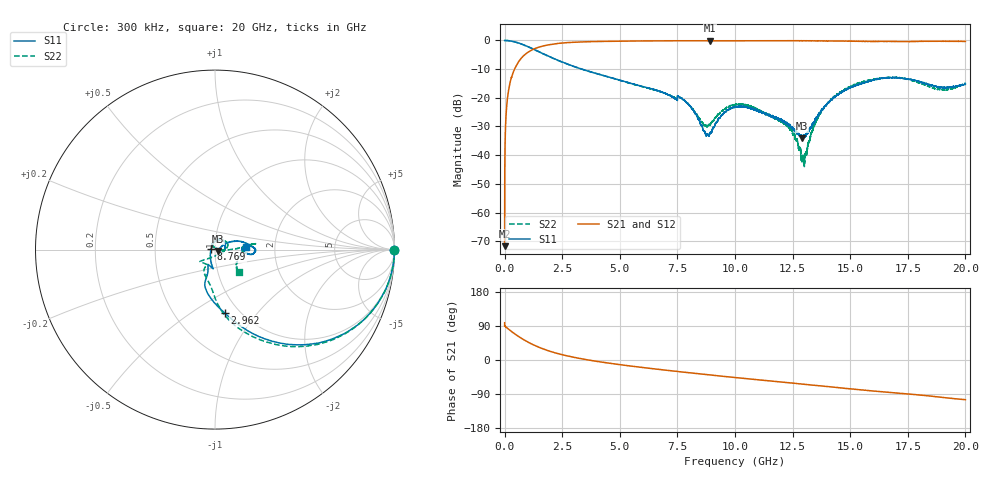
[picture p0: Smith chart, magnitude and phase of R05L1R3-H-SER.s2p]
!{R05L1R3}
!Johanson Technology Inc.
!www.johansontechnology.com
!Test Board Conditions:
!Substrate Type  RO4350B
!Substrate Thickness  10 mil
!Substrate Dk  3.66
!TL Type: GCPW
!TL Trace Width  22 mil
!TL Gap  25 mil
!Electrode orientation  Horizontal
!DUT TOPOLOGY	SERIES
!Mounting Pad LxW  11x14.5 mil
! Created Wed Nov 25 17:33:21 2020
! 2 Port Network Data from SP1.SP block
! freq  magS11  angS11  magS21  angS21  magS12  angS12  magS22  angS22
# khz S ma R 50
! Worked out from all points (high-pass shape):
!   20001 points, 300 kHz to 20 GHz, reference 50 ohm
!   highest |S21| = -0.07 dB at 8.898 GHz (marker M1); lowest = -71.7 dB at 300 kHz (marker M2)
!   |S21| within 3 dB of the highest: 1.249 GHz to end of sweep
!   lowest |S11| = -34.1 dB at 12.92 GHz (marker M3), VSWR 1.04, Z = 51.9 - j0.717 ohm
!   |S11| at or under -10 dB: 3.346 GHz to end of sweep
!   |S22| runs from -44.0 to 0.0 dB; largest |S21 - S12| = 0.015
!   S11 on the Smith chart (normalised r, x): 300 kHz: open; 2.962 GHz: 0.85, -0.69; 8.769 GHz: 0.96, +0.00; 20 GHz: 1.41, +0.05
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300  0.9974 0.0  0.0002592 98.3  0.0002271 98.7  0.997 -0.0
101300  0.996 -4.9  0.07979 84.9  0.0803 84.8  0.9966 -5.0
127300  0.9944 -6.2  0.1002 83.6  0.1007 83.6  0.9946 -6.2
456300  0.941 -21.0  0.332 68.3  0.333 68.4  0.939 -21.3
1245300  0.7067 -48.7  0.7012 40.2  0.7009 40.1  0.7061 -50.1
2962300  0.3566 -81.4  0.9276 7.7  0.9284 7.6  0.3574 -82.6
3334300  0.3172 -87.1  0.9416 3.3  0.9411 3.2  0.3181 -86.0
6667300  0.1324 -107.6  0.9829 -24.6  0.9837 -24.6  0.1316 -118.0
7871300  0.08381 -102.7  0.9871 -32.7  0.9878 -32.7  0.08505 -136.8
8769300  0.02235 174.3  0.9913 -38.5  0.9901 -38.5  0.03189 -62.7
8898300  0.02329 144.3  0.9919 -39.2  0.99 -39.3  0.03402 -42.6
1.00003e7  0.06926 62.9  0.9875 -46.2  0.9868 -46.2  0.0763 20.4
1.21333e7  0.03885 -43.3  0.986 -58.8  0.9862 -58.8  0.0354 113.7
1.26243e7  0.02697 -44.9  0.9885 -61.6  0.9837 -61.7  0.01887 126.3
1.29153e7  0.01968 -20.5  0.987 -63.6  0.9858 -63.4  0.008634 78.5
1.30603e7  0.02195 -3.3  0.9871 -64.3  0.9871 -64.4  0.01073 39.0
1.33343e7  0.03231 20.0  0.9861 -66.0  0.9855 -66.1  0.02523 5.0
1.38223e7  0.06376 30.2  0.9784 -69.0  0.9847 -69.1  0.06341 -1.2
1.44763e7  0.1141 24.1  0.9803 -73.0  0.9765 -72.9  0.1174 2.4
1.66673e7  0.2214 0.3  0.9612 -85.4  0.9537 -84.9  0.2264 8.0
1.89773e7  0.153 -0.1  0.9682 -98.5  0.9696 -98.5  0.1394 -19.3
2e7  0.1729 5.5  0.9611 -104.7  0.9554 -104.5  0.1791 -43.4
